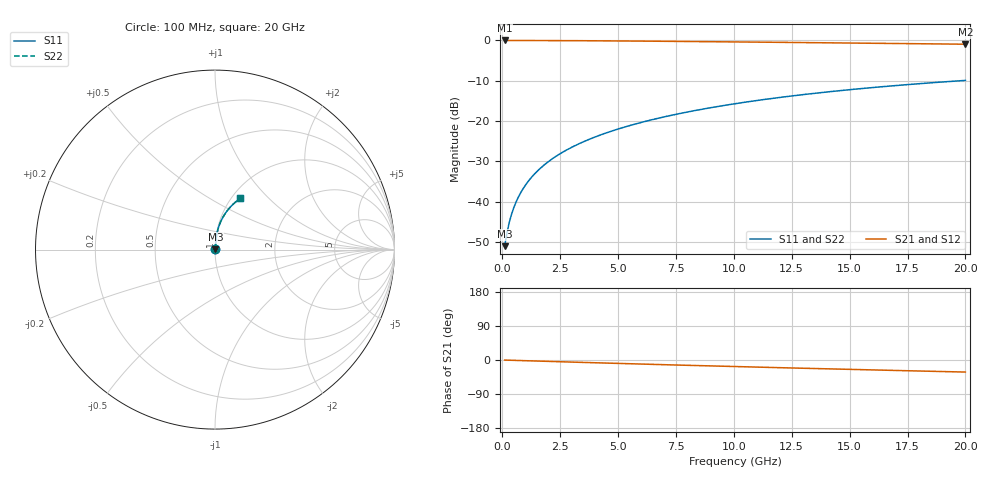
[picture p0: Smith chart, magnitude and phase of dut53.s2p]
! Touchstone file exported from HFSS 2024.1.0
!  File:  C:/UserFiles/LocalFiles/RDL_TSV_Batchsim/temp_RDL_bottom_53_1778693105.aedt
!  Generated:  01:27:13 AM May 14, 2026
!  Design:  RDL_bottom
!  Project:  temp_RDL_bottom_53_1778693105
!  Setup:  Setup1
!  Solution:  Sweep
! Variables:
!  dtsv = 10.80580581um
!  hbump = 3um
!  htsv = 81.17um
!  ldown = 435.06um
!  lrdl = 100um
!  p = 40
!  p1 = 46.61um
!  rhole = 1um
!  t = 450um
!  tdown = 3.95um
!  trdl = 3.915915916um
!  wdown = 18.82um
!  wrdl = 20um
# GHz S MA R 50.000000
! Terminal data exported
! Port[1] = RDL1_T1
! Port[2] = RDL1_T2
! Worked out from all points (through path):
!   200 points, 100 MHz to 20 GHz, reference 50 ohm
!   highest |S21| = -0.02 dB at 100 MHz (marker M1); lowest = -1.0 dB at 20 GHz (marker M2)
!   group delay of S21, straight-line fit = 4.39 ps
!   lowest |S11| = -51.1 dB at 100 MHz (marker M3), VSWR 1.01, Z = 50.2 + j0.17 ohm
!   |S11| at or under -10 dB: start of sweep to 19.81 GHz
!   |S22| runs from -51.1 to -9.9 dB; largest |S21 - S12| = 3.4e-15
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0.1  0.002802 37.2  0.9978 -0.2  0.9978 -0.2  0.002802 37.2
! Gamma 0 0 0 0
! Port Impedance 50 0 50 0
0.2  0.004072 55.2  0.9977 -0.4  0.9977 -0.4  0.004072 55.2
0.3  0.005511 63.9  0.9975 -0.6  0.9975 -0.6  0.005511 63.9
0.4  0.006986 68.8  0.9974 -0.8  0.9974 -0.8  0.006987 68.8
0.5  0.008473 72.0  0.9973 -0.9  0.9973 -0.9  0.008473 72.0
0.6  0.009967 74.4  0.9972 -1.1  0.9972 -1.1  0.009967 74.4
0.8  0.01298 77.5  0.9969 -1.5  0.9969 -1.5  0.01298 77.5
1.1  0.01754 80.2  0.9966 -2.0  0.9966 -2.0  0.01754 80.2
1.5  0.0237 82.2  0.9959 -2.8  0.9959 -2.8  0.0237 82.2
1.8  0.02836 83.0  0.9953 -3.3  0.9953 -3.3  0.02836 83.0
2.1  0.03305 83.6  0.9947 -3.9  0.9947 -3.9  0.03304 83.6
2.7  0.04249 84.1  0.9931 -5.0  0.9931 -5.0  0.04248 84.1
3.5  0.05522 84.3  0.9904 -6.4  0.9904 -6.4  0.05521 84.3
4.2  0.06649 84.1  0.9877 -7.6  0.9877 -7.6  0.06648 84.1
5  0.07952 83.6  0.9842 -9.0  0.9842 -9.0  0.07951 83.6
5.9  0.09434 82.9  0.98 -10.6  0.98 -10.6  0.09433 82.9
6.8  0.1093 82.1  0.9754 -12.1  0.9754 -12.1  0.1093 82.0
8.4  0.1361 80.2  0.9667 -14.7  0.9667 -14.7  0.1361 80.2
10.1  0.1647 78.0  0.957 -17.4  0.957 -17.4  0.1646 78.0
13.4  0.2191 73.3  0.9374 -22.4  0.9374 -22.4  0.219 73.3
16.7  0.2708 68.4  0.917 -27.2  0.917 -27.2  0.2707 68.4
20  0.3189 63.6  0.8961 -31.8  0.8961 -31.8  0.3187 63.6
